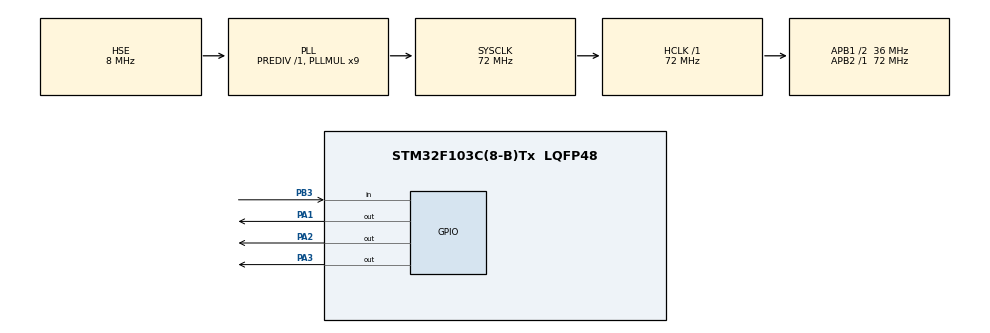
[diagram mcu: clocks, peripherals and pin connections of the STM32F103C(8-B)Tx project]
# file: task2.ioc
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Mcu.Family=STM32F1
Mcu.Name=STM32F103C(8-B)Tx
Mcu.Package=LQFP48
NVIC.PriorityGroup=NVIC_PRIORITYGROUP_4
PA1.Signal=GPIO_Output
PA13.Mode=Serial_Wire
PA13.Signal=SYS_JTMS-SWDIO
PA14.Mode=Serial_Wire
PA14.Signal=SYS_JTCK-SWCLK
PA2.Signal=GPIO_Output
PA3.Signal=GPIO_Output
PB3.Signal=GPIO_Input
PD0-OSC_IN.Mode=HSE-External-Oscillator
PD0-OSC_IN.Signal=RCC_OSC_IN
PD1-OSC_OUT.Mode=HSE-External-Oscillator
PD1-OSC_OUT.Signal=RCC_OSC_OUT
ProjectManager.HeapSize=0x200
ProjectManager.StackSize=0x400
ProjectManager.TargetToolchain=MDK-ARM V5.27
RCC.AHBFreq_Value=72000000
RCC.APB1CLKDivider=RCC_HCLK_DIV2
RCC.APB1Freq_Value=36000000
RCC.APB1TimFreq_Value=72000000
RCC.APB2Freq_Value=72000000
RCC.APB2TimFreq_Value=72000000
RCC.HCLKFreq_Value=72000000
RCC.PLLMUL=RCC_PLL_MUL9
RCC.PLLSourceVirtual=RCC_PLLSOURCE_HSE
RCC.SYSCLKFreq_VALUE=72000000
RCC.SYSCLKSource=RCC_SYSCLKSOURCE_PLLCLK
RCC.USBFreq_Value=72000000
board=custom

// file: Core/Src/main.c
/* USER CODE BEGIN Header */
/**
  ******************************************************************************
  * @file           : main.c
  * @brief          : Main program body
  ******************************************************************************
  * @attention
  *
  * Copyright (c) 2024 STMicroelectronics.
  * All rights reserved.
  *
  * This software is licensed under terms that can be found in the LICENSE file
  * in the root directory of this software component.
  * If no LICENSE file comes with this software, it is provided AS-IS.
  *
  ******************************************************************************
  */
/* USER CODE END Header */
#include "main.h"

/* USER CODE BEGIN PD */
#define GREEN_LED_ON		HAL_GPIO_WritePin(GPIOA, GPIO_PIN_1, GPIO_PIN_SET);
#define YELLOW_LED_ON	  HAL_GPIO_WritePin(GPIOA, GPIO_PIN_2, GPIO_PIN_SET);
#define RED_LED_ON			HAL_GPIO_WritePin(GPIOA, GPIO_PIN_3, GPIO_PIN_SET);
#define GREEN_LED_OFF		HAL_GPIO_WritePin(GPIOA, GPIO_PIN_1, GPIO_PIN_RESET);
#define YELLOW_LED_OFF  HAL_GPIO_WritePin(GPIOA, GPIO_PIN_2, GPIO_PIN_RESET);
#define RED_LED_OFF			HAL_GPIO_WritePin(GPIOA, GPIO_PIN_3, GPIO_PIN_RESET);
/* USER CODE END PD */

void SystemClock_Config(void);
static void MX_GPIO_Init(void);

int main(void)
{

  /* MCU Configuration--------------------------------------------------------*/

  /* Reset of all peripherals, Initializes the Flash interface and the Systick. */
  HAL_Init();

  /* Configure the system clock */
  SystemClock_Config();

  /* Initialize all configured peripherals */
  MX_GPIO_Init();
  /* USER CODE BEGIN 2 */
	int count = 0;
	GREEN_LED_ON;
  /* USER CODE END 2 */

  /* Infinite loop */
  while (1)
  {

    /* USER CODE BEGIN 3 */
		count = 0;
		while(count != 100){
			if (HAL_GPIO_ReadPin(GPIOB, GPIO_PIN_3) == GPIO_PIN_RESET){
				if(count < 70){
					HAL_Delay(300);
				}
				count = 100;
			} else {
				HAL_Delay(100);
				count++;
			}
		}
		GREEN_LED_OFF;
		for(int i = 0; i < 3; i++){
			YELLOW_LED_ON;
			HAL_Delay(500);
			YELLOW_LED_OFF;
			HAL_Delay(500);
		}
		RED_LED_ON;
		HAL_Delay(5000);
		RED_LED_OFF;
		GREEN_LED_ON;
		HAL_Delay(5000);

  }
  /* USER CODE END 3 */
}

void SystemClock_Config(void)
{
  RCC_OscInitTypeDef RCC_OscInitStruct = {0};
  RCC_ClkInitTypeDef RCC_ClkInitStruct = {0};

  /** Initializes the RCC Oscillators according to the specified parameters
  * in the RCC_OscInitTypeDef structure.
  */
  RCC_OscInitStruct.OscillatorType = RCC_OSCILLATORTYPE_HSE;
  RCC_OscInitStruct.HSEState = RCC_HSE_ON;
  RCC_OscInitStruct.HSEPredivValue = RCC_HSE_PREDIV_DIV1;
  RCC_OscInitStruct.HSIState = RCC_HSI_ON;
  RCC_OscInitStruct.PLL.PLLState = RCC_PLL_ON;
  RCC_OscInitStruct.PLL.PLLSource = RCC_PLLSOURCE_HSE;
  RCC_OscInitStruct.PLL.PLLMUL = RCC_PLL_MUL9;
  if (HAL_RCC_OscConfig(&RCC_OscInitStruct) != HAL_OK)
  {
    Error_Handler();
  }

  /** Initializes the CPU, AHB and APB buses clocks
  */
  RCC_ClkInitStruct.ClockType = RCC_CLOCKTYPE_HCLK|RCC_CLOCKTYPE_SYSCLK
                              |RCC_CLOCKTYPE_PCLK1|RCC_CLOCKTYPE_PCLK2;
  RCC_ClkInitStruct.SYSCLKSource = RCC_SYSCLKSOURCE_PLLCLK;
  RCC_ClkInitStruct.AHBCLKDivider = RCC_SYSCLK_DIV1;
  RCC_ClkInitStruct.APB1CLKDivider = RCC_HCLK_DIV2;
  RCC_ClkInitStruct.APB2CLKDivider = RCC_HCLK_DIV1;

  if (HAL_RCC_ClockConfig(&RCC_ClkInitStruct, FLASH_LATENCY_2) != HAL_OK)
  {
    Error_Handler();
  }
}

static void MX_GPIO_Init(void)
{
  GPIO_InitTypeDef GPIO_InitStruct = {0};

  /* GPIO Ports Clock Enable */
  __HAL_RCC_GPIOD_CLK_ENABLE();
  __HAL_RCC_GPIOA_CLK_ENABLE();
  __HAL_RCC_GPIOB_CLK_ENABLE();

  /*Configure GPIO pin Output Level */
  HAL_GPIO_WritePin(GPIOA, GPIO_PIN_1|GPIO_PIN_2|GPIO_PIN_3, GPIO_PIN_RESET);

  /*Configure GPIO pins : PA1 PA2 PA3 */
  GPIO_InitStruct.Pin = GPIO_PIN_1|GPIO_PIN_2|GPIO_PIN_3;
  GPIO_InitStruct.Mode = GPIO_MODE_OUTPUT_PP;
  GPIO_InitStruct.Pull = GPIO_NOPULL;
  GPIO_InitStruct.Speed = GPIO_SPEED_FREQ_LOW;
  HAL_GPIO_Init(GPIOA, &GPIO_InitStruct);

  /*Configure GPIO pin : PB3 */
  GPIO_InitStruct.Pin = GPIO_PIN_3;
  GPIO_InitStruct.Mode = GPIO_MODE_INPUT;
  GPIO_InitStruct.Pull = GPIO_NOPULL;
  HAL_GPIO_Init(GPIOB, &GPIO_InitStruct);

}

void Error_Handler(void)
{
  __disable_irq();
  while (1)
  {
  }
}
